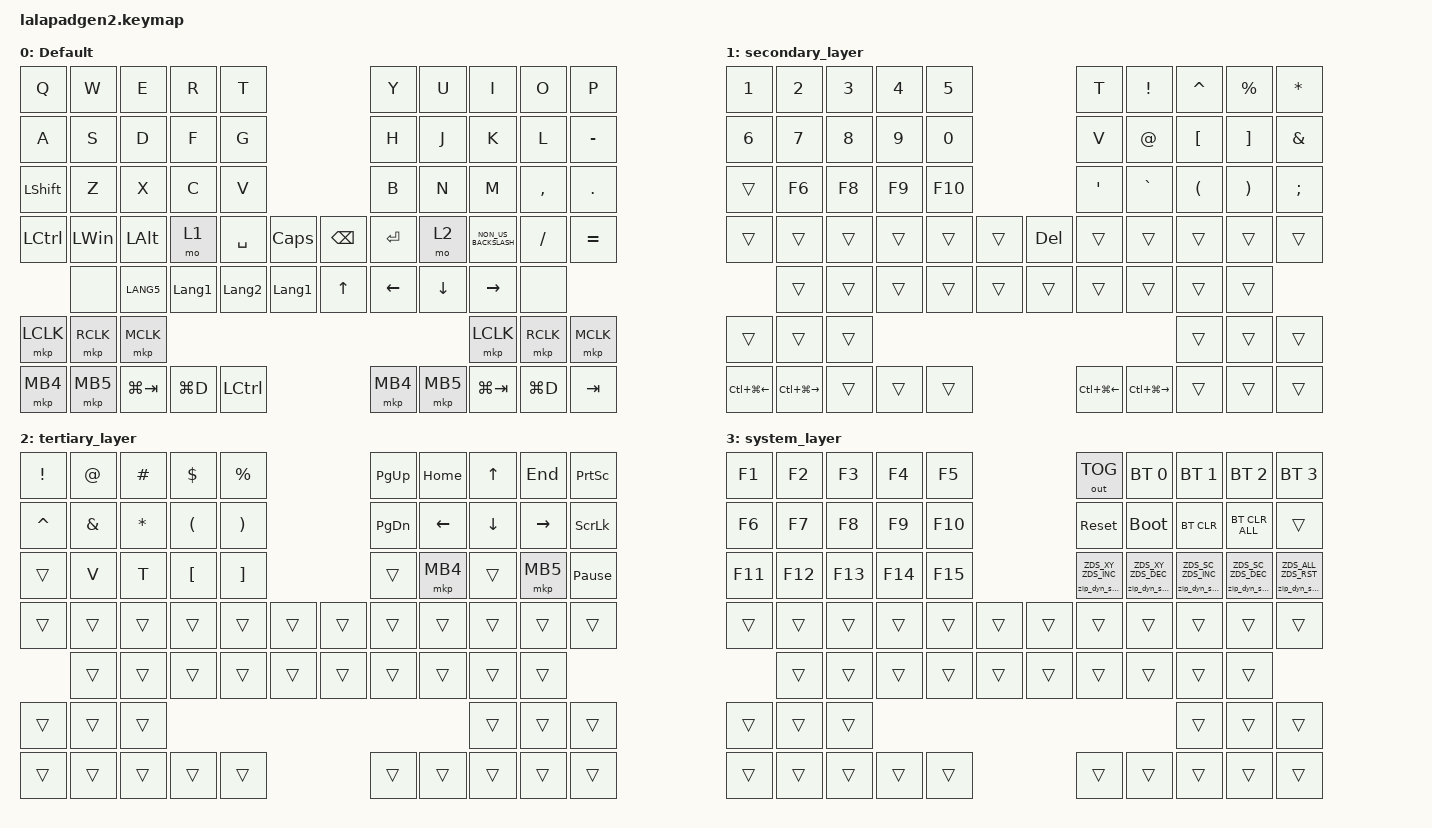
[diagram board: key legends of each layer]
#include <input/processors.dtsi>
#include <dt-bindings/zmk/zip_dynamic_scale.h>
#include <behaviors.dtsi>
#include <dt-bindings/zmk/bt.h>
#include <dt-bindings/zmk/keys.h>
#include <dt-bindings/zmk/outputs.h>
#include <dt-bindings/zmk/pointing.h>

#define DEFAULT_LAYER   0
#define SECONDARY_LAYER 1
#define TERTIARY_LAYER  2
#define SYSTEM_LAYER    3

&mt { quick-tap-ms = <200>; };

&lt { quick-tap-ms = <200>; };

/ {
    behaviors {
        zip_dyn_scale: zip_dyn_scale {
            compatible = "zmk,behavior-zip-dynamic-scale";
            #binding-cells = <2>;
        };

        zip_dyn_scale_set: zip_dyn_scale_set {
            compatible = "zmk,behavior-zip-dynamic-scale-set";
            #binding-cells = <2>;
        };

        mt2: mod_tap2 {
            compatible = "zmk,behavior-hold-tap";
            #binding-cells = <2>;
            flavor = "tap-preferred";
            tapping-term-ms = <200>;
            quick-tap-ms = <200>;
            require-prior-idle-ms = <125>;
            bindings = <&kp>, <&kp>;
        };

        tap_dance_layer_1and2: tap_dance_layer_1and2 {
            compatible = "zmk,behavior-tap-dance";
            label = "td_mo12";
            #binding-cells = <0>;
            bindings = <&mo 1>, <&mo 2>;
        };
    };

    combos {
        compatible = "zmk,combos";

        ESC_COMBO {
            bindings = <&kp ESC>;
            key-positions = <0 1>;
        };
    };

    keymap {
        compatible = "zmk,keymap";

        DEFAULT_LAYER {
            display-name = "Default";
            bindings = <
&kp Q           &kp W      &kp E         &kp R           &kp T                                          &kp Y      &kp U     &kp I                 &kp O      &kp P
&kp A           &kp S      &kp D         &kp F           &kp G                                          &kp H      &kp J     &kp K                 &kp L      &kp MINUS
&kp LEFT_SHIFT  &kp Z      &kp X         &kp C           &kp V                                          &kp B      &kp N     &kp M                 &kp COMMA  &kp PERIOD
&kp LCTRL       &kp LWIN   &kp LEFT_ALT  &mo 1           &kp SPACE       &kp CAPS        &kp BACKSPACE  &kp ENTER  &mo 2     &kp NON_US_BACKSLASH  &kp SLASH  &kp EQUAL
                &none      &kp LANG5     &kp LANGUAGE_1  &kp LANGUAGE_2  &kp LANGUAGE_1  &kp UP         &kp LEFT   &kp DOWN  &kp RIGHT             &none
&mkp LCLK       &mkp RCLK  &mkp MCLK                                                                                         &mkp LCLK             &mkp RCLK  &mkp MCLK
&mkp MB4        &mkp MB5   &kp LG(TAB)   &kp LG(D)       &kp LCTRL                                      &mkp MB4   &mkp MB5  &kp LG(TAB)           &kp LG(D)  &kp TAB
            >;
        };

        SECONDARY_LAYER {
            display-name = "secondary_layer";
            bindings = <
&kp NUMBER_1      &kp NUMBER_2       &kp NUMBER_3  &kp NUMBER_4  &kp N5                    &kp T             &kp EXCLAMATION    &kp CARET             &kp PERCENT            &kp ASTERISK
&kp NUMBER_6      &kp N7             &kp N8        &kp N9        &kp N0                    &kp V             &kp AT_SIGN        &kp LEFT_BRACKET      &kp RIGHT_BRACKET      &kp AMPERSAND
&trans            &kp F6             &kp F8        &kp F9        &kp F10                   &kp SINGLE_QUOTE  &kp GRAVE          &kp LEFT_PARENTHESIS  &kp RIGHT_PARENTHESIS  &kp SEMICOLON
&trans            &trans             &trans        &trans        &trans   &trans  &kp DEL  &trans            &trans             &trans                &trans                 &trans
                  &trans             &trans        &trans        &trans   &trans  &trans   &trans            &trans             &trans                &trans
&trans            &trans             &trans                                                                                     &trans                &trans                 &trans
&kp LC(LG(LEFT))  &kp LC(LG(RIGHT))  &trans        &trans        &trans                    &kp LC(LG(LEFT))  &kp LC(LG(RIGHT))  &trans                &trans                 &trans
            >;
        };

        TERTIARY_LAYER {
            display-name = "tertiary_layer";
            bindings = <
&kp EXCLAMATION  &kp AT_SIGN    &kp HASH      &kp DOLLAR            &kp PERCENT                            &kp PAGE_UP    &kp HOME  &kp UP_ARROW    &kp END    &kp PRINTSCREEN
&kp CARET        &kp AMPERSAND  &kp ASTERISK  &kp LEFT_PARENTHESIS  &kp RIGHT_PARENTHESIS                  &kp PAGE_DOWN  &kp LEFT  &kp DOWN_ARROW  &kp RIGHT  &kp SCROLLLOCK
&trans           &kp V          &kp T         &kp LEFT_BRACKET      &kp RIGHT_BRACKET                      &trans         &mkp MB4  &trans          &mkp MB5   &kp PAUSE_BREAK
&trans           &trans         &trans        &trans                &trans                 &trans  &trans  &trans         &trans    &trans          &trans     &trans
                 &trans         &trans        &trans                &trans                 &trans  &trans  &trans         &trans    &trans          &trans
&trans           &trans         &trans                                                                                              &trans          &trans     &trans
&trans           &trans         &trans        &trans                &trans                                 &trans         &trans    &trans          &trans     &trans
            >;
        };

        SYSTEM_LAYER {
            display-name = "system_layer";
            bindings = <
&kp F1   &kp F2   &kp F3   &kp F4   &kp F5                   &out OUT_TOG                   &bt BT_SEL 0                   &bt BT_SEL 1                   &bt BT_SEL 2                   &bt BT_SEL 3
&kp F6   &kp F7   &kp F8   &kp F9   &kp F10                  &sys_reset                     &bootloader                    &bt BT_CLR                     &bt BT_CLR_ALL                 &trans
&kp F11  &kp F12  &kp F13  &kp F14  &kp F15                  &zip_dyn_scale ZDS_XY ZDS_INC  &zip_dyn_scale ZDS_XY ZDS_DEC  &zip_dyn_scale ZDS_SC ZDS_INC  &zip_dyn_scale ZDS_SC ZDS_DEC  &zip_dyn_scale ZDS_ALL ZDS_RST
&trans   &trans   &trans   &trans   &trans   &trans  &trans  &trans                         &trans                         &trans                         &trans                         &trans
         &trans   &trans   &trans   &trans   &trans  &trans  &trans                         &trans                         &trans                         &trans
&trans   &trans   &trans                                                                                                   &trans                         &trans                         &trans
&trans   &trans   &trans   &trans   &trans                   &trans                         &trans                         &trans                         &trans                         &trans
            >;
        };
    };

    conditional_layers {
        compatible = "zmk,conditional-layers";

        Cond_Syslayer {
            if-layers = <1 2>;
            then-layer = <3>;
        };
    };
};
